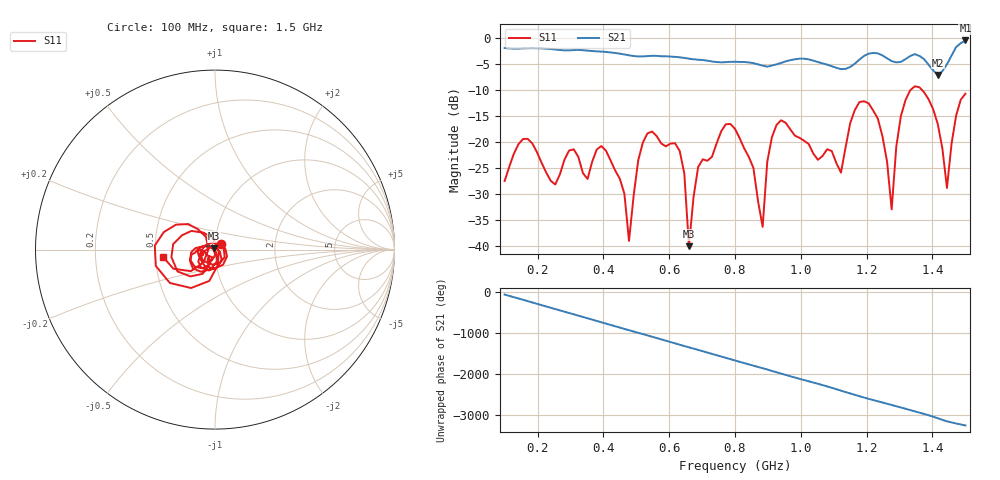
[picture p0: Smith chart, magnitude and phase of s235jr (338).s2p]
! NanoVNA-App
! Date: 2025-09-25 15:06:47
! Start: 100MHz Stop: 1,5GHz Points: 101
! S-Parameter data: F S11 S21 S12 S22
# Hz S RI R 50
!  Frequency  S11_Real  S11_Imag  S21_Real  S21_Imag  S12_Real  S12_Imag  S22_Real  S22_Imag
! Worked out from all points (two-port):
!   101 points, 100 MHz to 1.5 GHz, reference 50 ohm
!   highest |S21| = -0.52 dB at 1.5 GHz (marker M1); lowest = -7.1 dB at 1.416 GHz (marker M2)
!   |S21| within 3 dB of the highest: start of sweep to 494.2 MHz; 1.191 GHz to 1.251 GHz (59.94 MHz wide, 4.91 % of centre) (the widest 2 of 5)
!   lowest |S11| = -40.0 dB at 660 MHz (marker M3), VSWR 1.02, Z = 49.2 + j0.637 ohm
!   |S11| at or under -10 dB: start of sweep to 1.334 GHz; 1.368 GHz to end of sweep
!   S12 and S22 are empty: the file has one direction only
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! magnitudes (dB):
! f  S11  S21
! 100 MHz  -27.5  -2.0
! 156 MHz  -19.4  -2.0
! 338 MHz  -26.0  -2.4
! 408 MHz  -21.7  -2.7
! 478 MHz  -39.0  -3.4
! 520 MHz  -20.1  -3.6
! 576 MHz  -20.3  -3.5
! 632 MHz  -21.7  -3.7
! 660 MHz  -40.0  -4.0
! 688 MHz  -24.8  -4.2
! 800 MHz  -17.5  -4.6
! 884 MHz  -36.3  -5.3
! 926 MHz  -16.7  -5.1
! 1.038 GHz  -22.2  -4.4
! 1.122 GHz  -25.9  -6.0
! 1.206 GHz  -12.6  -3.0
! 1.276 GHz  -32.9  -4.5
! 1.304 GHz  -15.0  -4.6
! 1.332 GHz  -10.1  -3.5
! 1.416 GHz  -16.5  -7.1
! 1.444 GHz  -28.8  -5.1
! 1.5 GHz  -10.7  -0.5
